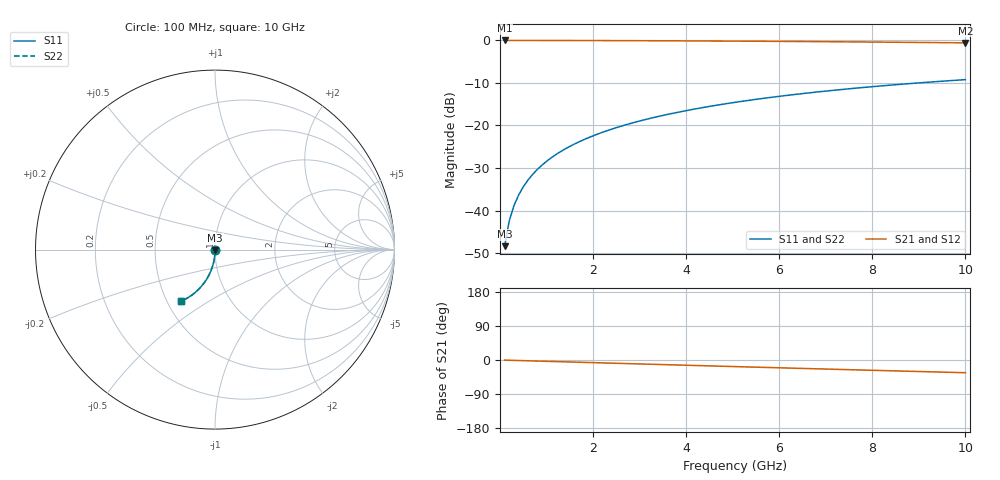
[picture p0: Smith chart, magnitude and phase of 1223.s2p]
# Hz S RI R 50.00
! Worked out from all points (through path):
!   100 points, 100 MHz to 10 GHz, reference 50 ohm
!   highest |S21| = 0.00 dB at 100 MHz (marker M1); lowest = -0.6 dB at 10 GHz (marker M2)
!   group delay of S21, straight-line fit = 9.35 ps
!   lowest |S11| = -48.4 dB at 100 MHz (marker M3), VSWR 1.01, Z = 50 - j0.379 ohm
!   |S11| at or under -10 dB: start of sweep to 8.981 GHz
!   |S22| runs from -48.4 to -9.2 dB; largest |S21 - S12| = 0
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1e8  0.000387 -0.00379  0.9996 -0.00605  0.9996 -0.00605  0.000387 -0.00379
2e8  0.000316 -0.00758  0.9995 -0.0121  0.9995 -0.0121  0.000316 -0.00758
3e8  0.000198 -0.0114  0.9993 -0.0182  0.9993 -0.0182  0.000198 -0.0114
4e8  3.48e-05 -0.0152  0.9992 -0.0242  0.9992 -0.0242  3.48e-05 -0.0152
5e8  -0.000175 -0.0189  0.9989 -0.0302  0.9989 -0.0302  -0.000175 -0.0189
6e8  -0.00043 -0.0227  0.9986 -0.0363  0.9986 -0.0363  -0.00043 -0.0227
7e8  -0.000732 -0.0265  0.9983 -0.0423  0.9983 -0.0423  -0.000732 -0.0265
8e8  -0.00108 -0.0303  0.9979 -0.0484  0.9979 -0.0484  -0.00108 -0.0303
9e8  -0.00147 -0.0341  0.9975 -0.0544  0.9975 -0.0544  -0.00147 -0.0341
1.1e9  -0.00239 -0.0416  0.9964 -0.0664  0.9964 -0.0664  -0.00239 -0.0416
1.4e9  -0.00412 -0.0528  0.9945 -0.0845  0.9945 -0.0845  -0.00412 -0.0528
1.8e9  -0.00705 -0.0677  0.9913 -0.1084  0.9913 -0.1084  -0.00705 -0.0677
2.1e9  -0.00971 -0.0787  0.9883 -0.1262  0.9883 -0.1262  -0.00971 -0.0787
2.5e9  -0.0139 -0.0932  0.9836 -0.1498  0.9836 -0.1498  -0.0139 -0.0932
2.9e9  -0.0187 -0.1075  0.9782 -0.1732  0.9782 -0.1732  -0.0187 -0.1075
3.4e9  -0.0257 -0.125  0.9704 -0.202  0.9704 -0.202  -0.0257 -0.125
4.2e9  -0.039 -0.1518  0.9556 -0.2471  0.9556 -0.2471  -0.039 -0.1518
5.1e9  -0.0568 -0.1802  0.9356 -0.296  0.9356 -0.296  -0.0568 -0.1802
5.9e9  -0.0748 -0.2034  0.9152 -0.3376  0.9152 -0.3376  -0.0748 -0.2034
6.7e9  -0.0948 -0.2246  0.8926 -0.3772  0.8926 -0.3772  -0.0948 -0.2246
8.4e9  -0.1422 -0.2625  0.8382 -0.4545  0.8382 -0.4545  -0.1422 -0.2625
1e10  -0.1911 -0.2884  0.7811 -0.5179  0.7811 -0.5179  -0.1911 -0.2884
